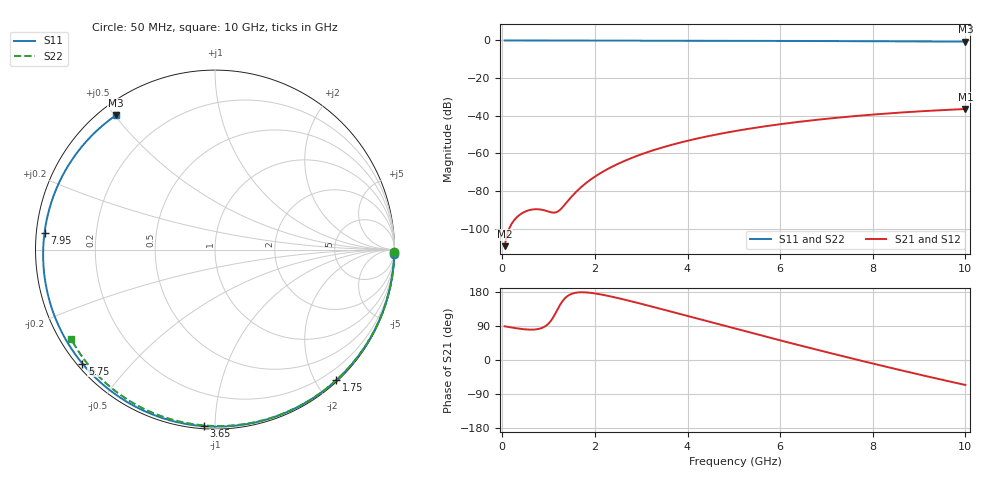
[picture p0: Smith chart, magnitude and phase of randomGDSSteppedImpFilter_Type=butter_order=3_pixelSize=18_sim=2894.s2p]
! freq	dB(S11)	phase(S11)	dB(S12)	phase(S12)
!  dB(S21)	phase(S21)	dB(S22)	phase(S22)
!S-par simulation data
#  GHz  S  DB  R 50
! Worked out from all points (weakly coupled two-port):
!   200 points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, 50 MHz to 10 GHz, reference 50 ohm
!   highest |S21| = -36.40 dB at 10 GHz (marker M1); lowest = -109.2 dB at 50 MHz (marker M2)
!   lowest |S11| = -0.6 dB at 10 GHz (marker M3), VSWR 27.56, Z = 2.27 + j25.2 ohm
!   |S11| at or under -10 dB: nowhere
!   |S22| runs from -0.5 to 0.0 dB; largest |S21 - S12| = 0
!   S11 on the Smith chart (normalised r, x): 50 MHz: 1, -85; 1.75 GHz: 0.02, -2.30; 3.65 GHz: 0.01, -0.94; 5.75 GHz: 0.01, -0.37; 7.95 GHz: 0.02, +0.05; 10 GHz: 0.05, +0.50
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0.05  -0.00 -1.3  -109.21 88.9  -109.21 88.9  -0.00 -0.8
0.45  -0.02 -12.3  -91.38 81.4  -91.38 81.4  -0.01 -7.6
0.8  -0.03 -21.9  -89.67 82.4  -89.67 82.4  -0.02 -13.6
1.2  -0.04 -32.6  -90.80 135.1  -90.80 135.1  -0.03 -20.3
1.6  -0.05 -43.2  -80.23 177.8  -80.23 177.8  -0.03 -27.0
1.75  -0.06 -47.1  -76.86 178.7  -76.86 178.7  -0.04 -29.5
2.05  -0.07 -54.8  -71.49 174.7  -71.49 174.7  -0.04 -34.4
2.45  -0.08 -64.8  -66.07 164.8  -66.07 164.8  -0.05 -40.9
2.9  -0.10 -75.9  -61.36 151.4  -61.36 151.4  -0.06 -48.1
3.4  -0.11 -87.7  -57.23 135.5  -57.23 135.5  -0.07 -56.0
3.65  -0.12 -93.5  -55.46 127.5  -55.46 127.5  -0.08 -59.8
4.35  -0.15 -109.3  -51.31 104.7  -51.31 104.7  -0.10 -70.5
5.05  -0.19 -124.5  -48.00 82.1  -48.00 82.1  -0.12 -80.8
5.75  -0.23 -139.3  -45.31 59.7  -45.31 59.7  -0.15 -90.9
6.25  -0.26 -149.7  -43.68 44.0  -43.68 44.0  -0.18 -97.9
6.7  -0.29 -159.1  -42.38 30.0  -42.38 30.0  -0.20 -104.1
7.35  -0.35 -172.8  -40.74 10.1  -40.74 10.1  -0.25 -112.9
7.95  -0.40 174.3  -39.46 -7.8  -39.46 -7.8  -0.29 -121.0
8.35  -0.45 165.6  -38.71 -19.6  -38.71 -19.6  -0.33 -126.3
9.15  -0.53 147.2  -37.44 -42.5  -37.44 -42.5  -0.40 -136.9
9.55  -0.58 137.7  -36.91 -53.7  -36.91 -53.7  -0.45 -142.2
10  -0.63 126.5  -36.40 -65.9  -36.40 -65.9  -0.50 -148.2
